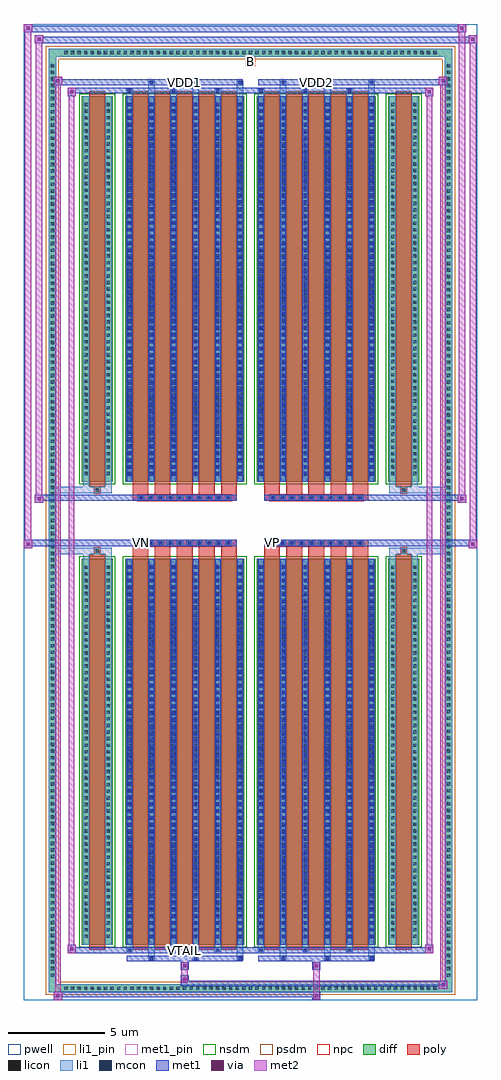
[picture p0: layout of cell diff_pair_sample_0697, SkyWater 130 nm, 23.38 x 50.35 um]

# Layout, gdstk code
import gdstk
lib = gdstk.Library(unit=1e-6, precision=5e-09)
def R(c, l, rs):  # rectangles x0, y0, x1, y1
    for r in rs: c.add(gdstk.rectangle(r[:2], r[2:], *l))
def A(c, l, x, y, w, h, nx, ny, dx, dy):  # array of equal rectangles
    R(c, l, [(x+i*dx, y+j*dy, x+i*dx+w, y+j*dy+h) for i in range(nx) for j in range(ny)])
def P(c, l, *ps):  # polygons
    for p in ps: c.add(gdstk.Polygon(p, *l))
pwell = (64, 44)
diff = (65, 20)
poly = (66, 20)
licon = (66, 44)
li1_pin = (67, 16)
li1 = (67, 20)
mcon = (67, 44)
met1_pin = (68, 16)
met1 = (68, 20)
via = (68, 44)
met2 = (69, 20)
nsdm = (93, 44)
psdm = (94, 20)
npc = (95, 20)

diff_pair_sample_0697 = lib.new_cell('diff_pair_sample_0697')
R(diff_pair_sample_0697, pwell, [(-11.69,-24.74,11.69,25.61), (-9.01,-22.93,-0.01,-0.805), (0.01,-22.93,9.01,-0.805), (-9.01,0.805,-0.01,22.93), (0.01,0.805,9.01,22.93)])
A(diff_pair_sample_0697, diff, -9.725, -24.34, 0.41, 0.41, 57, 2, 0.34, 48.27)
A(diff_pair_sample_0697, diff, -10.42, -23.665, 0.41, 0.41, 1, 139, 0, 0.34)
A(diff_pair_sample_0697, diff, 10.01, -23.665, 0.41, 0.41, 1, 139, 0, 0.34)
R(diff_pair_sample_0697, diff, [(-9.725,-24.34,9.725,-23.93), (-10.42,-23.665,-10.01,23.665), (10.01,-23.665,10.42,23.665), (-8.7,-21.885,-7.11,-1.985), (-6.47,-21.885,-0.32,-1.985), (0.32,-21.885,6.47,-1.985), (7.11,-21.885,8.7,-1.985), (-8.7,1.985,-7.11,21.885), (-6.47,1.985,-0.32,21.885), (0.32,1.985,6.47,21.885), (7.11,1.985,8.7,21.885), (-9.725,23.93,9.725,24.34)])
P(diff_pair_sample_0697, diff, [(10.42,24.34),(-10.42,24.34),(-10.42,-23.93),(-10.01,-23.93),(-10.01,23.93),(10.01,23.93),(10.01,-23.93),(-10.01,-23.93),(-10.42,-23.93),(-10.42,-24.34),(10.42,-24.34)])
A(diff_pair_sample_0697, poly, -6.08, -22.135, 0.81, 20.4, 5, 2, 1.14, 23.87)
A(diff_pair_sample_0697, poly, 0.71, -22.135, 0.81, 20.4, 5, 2, 1.14, 23.87)
A(diff_pair_sample_0697, poly, -6.08, -1.735, 0.81, 0.4, 5, 2, 1.14, 3.07)
A(diff_pair_sample_0697, poly, 0.71, -1.735, 0.81, 0.4, 5, 2, 1.14, 3.07)
A(diff_pair_sample_0697, poly, -5.81, -1.335, 0.33, 0.33, 10, 2, 0.5, 2.34)
A(diff_pair_sample_0697, poly, 0.98, -1.335, 0.33, 0.33, 10, 2, 0.5, 2.34)
R(diff_pair_sample_0697, poly, [(-8.31,-22.135,-7.5,-1.735), (7.5,-22.135,8.31,-1.735), (-8.07,-1.735,-7.74,-1.405), (-8.07,-1.735,-7.74,-1.405), (7.74,-1.735,8.07,-1.405), (7.74,-1.735,8.07,-1.405), (-6.08,-1.335,-0.71,-1.005), (0.71,-1.335,6.08,-1.005), (-6.08,1.005,-0.71,1.335), (0.71,1.005,6.08,1.335), (-8.07,1.405,-7.74,1.735), (-8.07,1.405,-7.74,1.735), (7.74,1.405,8.07,1.735), (7.74,1.405,8.07,1.735), (-8.31,1.735,-7.5,22.135), (7.5,1.735,8.31,22.135)])
A(diff_pair_sample_0697, licon, -9.605, -24.22, 0.17, 0.17, 57, 2, 0.34, 48.27)
A(diff_pair_sample_0697, licon, -10.3, -23.545, 0.17, 0.17, 1, 139, 0, 0.34)
A(diff_pair_sample_0697, licon, 10.13, -23.545, 0.17, 0.17, 1, 139, 0, 0.34)
A(diff_pair_sample_0697, licon, -8.56, -21.54, 0.17, 0.17, 1, 57, 0, 0.34)
A(diff_pair_sample_0697, licon, -7.42, -21.54, 0.17, 0.17, 1, 57, 0, 0.34)
A(diff_pair_sample_0697, licon, -6.33, -21.54, 0.17, 0.17, 6, 57, 1.14, 0.34)
A(diff_pair_sample_0697, licon, 0.46, -21.54, 0.17, 0.17, 6, 57, 1.14, 0.34)
A(diff_pair_sample_0697, licon, 7.25, -21.54, 0.17, 0.17, 1, 57, 0, 0.34)
A(diff_pair_sample_0697, licon, 8.39, -21.54, 0.17, 0.17, 1, 57, 0, 0.34)
A(diff_pair_sample_0697, licon, -5.73, -1.255, 0.17, 0.17, 10, 2, 0.5, 2.34)
A(diff_pair_sample_0697, licon, 1.06, -1.255, 0.17, 0.17, 10, 2, 0.5, 2.34)
A(diff_pair_sample_0697, licon, -8.56, 2.33, 0.17, 0.17, 1, 57, 0, 0.34)
A(diff_pair_sample_0697, licon, -7.42, 2.33, 0.17, 0.17, 1, 57, 0, 0.34)
A(diff_pair_sample_0697, licon, -6.33, 2.33, 0.17, 0.17, 6, 57, 1.14, 0.34)
A(diff_pair_sample_0697, licon, 0.46, 2.33, 0.17, 0.17, 6, 57, 1.14, 0.34)
A(diff_pair_sample_0697, licon, 7.25, 2.33, 0.17, 0.17, 1, 57, 0, 0.34)
A(diff_pair_sample_0697, licon, 8.39, 2.33, 0.17, 0.17, 1, 57, 0, 0.34)
R(diff_pair_sample_0697, licon, [(-7.99,-1.655,-7.82,-1.485), (7.82,-1.655,7.99,-1.485), (-7.99,1.485,-7.82,1.655), (7.82,1.485,7.99,1.655)])
R(diff_pair_sample_0697, li1_pin, [(-0.25,23.43,0.25,23.93)])
A(diff_pair_sample_0697, li1, -9.685, -24.3, 0.33, 0.33, 57, 2, 0.34, 48.27)
A(diff_pair_sample_0697, li1, -10.38, -23.625, 0.33, 0.33, 1, 139, 0, 0.34)
A(diff_pair_sample_0697, li1, 10.05, -23.625, 0.33, 0.33, 1, 139, 0, 0.34)
A(diff_pair_sample_0697, li1, -5.27, -22.69, 0.33, 0.805, 3, 2, 2.28, 44.575)
A(diff_pair_sample_0697, li1, -5.19, -22.69, 0.17, 0.17, 3, 2, 2.28, 45.21)
A(diff_pair_sample_0697, li1, 1.52, -22.69, 0.33, 0.805, 3, 2, 2.28, 44.575)
A(diff_pair_sample_0697, li1, 1.6, -22.69, 0.17, 0.17, 3, 2, 2.28, 45.21)
A(diff_pair_sample_0697, li1, -6.41, -22.26, 0.33, 0.375, 3, 2, 2.28, 44.145)
A(diff_pair_sample_0697, li1, -6.33, -22.26, 0.17, 0.17, 3, 2, 2.28, 44.35)
A(diff_pair_sample_0697, li1, 0.38, -22.26, 0.33, 0.375, 3, 2, 2.28, 44.145)
A(diff_pair_sample_0697, li1, 0.46, -22.26, 0.17, 0.17, 3, 2, 2.28, 44.35)
A(diff_pair_sample_0697, li1, -6.41, -21.885, 0.33, 19.9, 6, 2, 1.14, 23.87)
A(diff_pair_sample_0697, li1, 0.38, -21.885, 0.33, 19.9, 6, 2, 1.14, 23.87)
A(diff_pair_sample_0697, li1, -8.64, -21.62, 0.33, 0.33, 1, 57, 0, 0.34)
A(diff_pair_sample_0697, li1, -7.5, -21.62, 0.33, 0.33, 1, 57, 0, 0.34)
A(diff_pair_sample_0697, li1, -6.41, -21.62, 0.33, 0.33, 6, 57, 1.14, 0.34)
A(diff_pair_sample_0697, li1, 0.38, -21.62, 0.33, 0.33, 6, 57, 1.14, 0.34)
A(diff_pair_sample_0697, li1, 7.17, -21.62, 0.33, 0.33, 1, 57, 0, 0.34)
A(diff_pair_sample_0697, li1, 8.31, -21.62, 0.33, 0.33, 1, 57, 0, 0.34)
A(diff_pair_sample_0697, li1, -6.33, -21.56, 0.17, 0.17, 6, 54, 1.14, 0.36)
A(diff_pair_sample_0697, li1, -6.33, -21.56, 0.17, 19.25, 6, 2, 1.14, 23.87)
A(diff_pair_sample_0697, li1, 0.46, -21.56, 0.17, 0.17, 6, 54, 1.14, 0.36)
A(diff_pair_sample_0697, li1, 0.46, -21.56, 0.17, 19.25, 6, 2, 1.14, 23.87)
A(diff_pair_sample_0697, li1, -5.81, -1.335, 0.33, 0.33, 10, 2, 0.5, 2.34)
A(diff_pair_sample_0697, li1, 0.98, -1.335, 0.33, 0.33, 10, 2, 0.5, 2.34)
A(diff_pair_sample_0697, li1, -8.64, 2.25, 0.33, 0.33, 1, 57, 0, 0.34)
A(diff_pair_sample_0697, li1, -7.5, 2.25, 0.33, 0.33, 1, 57, 0, 0.34)
A(diff_pair_sample_0697, li1, -6.41, 2.25, 0.33, 0.33, 6, 57, 1.14, 0.34)
A(diff_pair_sample_0697, li1, 0.38, 2.25, 0.33, 0.33, 6, 57, 1.14, 0.34)
A(diff_pair_sample_0697, li1, 7.17, 2.25, 0.33, 0.33, 1, 57, 0, 0.34)
A(diff_pair_sample_0697, li1, 8.31, 2.25, 0.33, 0.33, 1, 57, 0, 0.34)
A(diff_pair_sample_0697, li1, -6.33, 2.31, 0.17, 0.17, 6, 54, 1.14, 0.36)
A(diff_pair_sample_0697, li1, 0.46, 2.31, 0.17, 0.17, 6, 54, 1.14, 0.36)
R(diff_pair_sample_0697, li1, [(-10.42,-24.34,-10.01,-23.93), (-10.42,-24.34,-10.01,-23.93), (-10.01,-24.34,10.01,-23.93), (10.01,-24.34,10.42,-23.93), (10.01,-24.34,10.42,-23.93), (-10.42,-23.93,-10.01,23.93), (10.01,-23.93,10.42,23.93), (-8.64,-21.885,-8.31,-1.985), (-7.5,-21.885,-7.17,-1.985), (7.17,-21.885,7.5,-1.985), (8.31,-21.885,8.64,-1.985), (-8.64,-1.985,-8.31,-1.405), (-7.5,-1.985,-7.17,-1.405), (7.17,-1.985,7.5,-1.405), (8.31,-1.985,8.64,-1.405), (-10.42,-1.735,-8.07,-1.405), (-8.64,-1.735,-8.07,-1.405), (-8.07,-1.735,-7.74,-1.405), (-7.74,-1.735,-7.17,-1.405), (7.17,-1.735,7.74,-1.405), (7.74,-1.735,8.07,-1.405), (7.74,-1.735,10.42,-1.405), (8.07,-1.735,8.64,-1.405), (-10.42,1.405,-8.07,1.735), (-8.64,1.405,-8.07,1.735), (-8.64,1.405,-8.31,1.985), (-8.07,1.405,-7.74,1.735), (-7.74,1.405,-7.17,1.735), (-7.5,1.405,-7.17,1.985), (7.17,1.405,7.74,1.735), (7.17,1.405,7.5,1.985), (7.74,1.405,8.07,1.735), (7.74,1.405,10.42,1.735), (8.07,1.405,8.64,1.735), (8.31,1.405,8.64,1.985), (-8.64,1.985,-8.31,21.885), (-7.5,1.985,-7.17,21.885), (7.17,1.985,7.5,21.885), (8.31,1.985,8.64,21.885), (-10.42,23.93,-10.01,24.34), (-10.42,23.93,-10.01,24.34), (-10.01,23.93,10.01,24.34), (10.01,23.93,10.42,24.34), (10.01,23.93,10.42,24.34)])
A(diff_pair_sample_0697, mcon, -5.19, -22.69, 0.17, 0.17, 3, 2, 2.28, 45.21)
A(diff_pair_sample_0697, mcon, 1.6, -22.69, 0.17, 0.17, 3, 2, 2.28, 45.21)
A(diff_pair_sample_0697, mcon, -6.33, -22.26, 0.17, 0.17, 3, 2, 2.28, 44.35)
A(diff_pair_sample_0697, mcon, 0.46, -22.26, 0.17, 0.17, 3, 2, 2.28, 44.35)
A(diff_pair_sample_0697, mcon, -6.33, -21.56, 0.17, 0.17, 6, 54, 1.14, 0.36)
A(diff_pair_sample_0697, mcon, 0.46, -21.56, 0.17, 0.17, 6, 54, 1.14, 0.36)
A(diff_pair_sample_0697, mcon, -5.73, -1.255, 0.17, 0.17, 10, 2, 0.5, 2.34)
A(diff_pair_sample_0697, mcon, 1.06, -1.255, 0.17, 0.17, 10, 2, 0.5, 2.34)
A(diff_pair_sample_0697, mcon, -6.33, 2.31, 0.17, 0.17, 6, 54, 1.14, 0.36)
A(diff_pair_sample_0697, mcon, 0.46, 2.31, 0.17, 0.17, 6, 54, 1.14, 0.36)
R(diff_pair_sample_0697, met1_pin, [(-3.53,-22.3,-3.26,-22.03), (-5.78,-1.295,-5.51,-1.025), (1.01,-1.295,1.28,-1.025), (-3.53,22.48,-3.26,22.75), (3.26,22.48,3.53,22.75)])
A(diff_pair_sample_0697, met1, -5.25, -22.75, 0.29, 0.29, 3, 2, 2.28, 45.21)
A(diff_pair_sample_0697, met1, 1.54, -22.75, 0.29, 0.29, 3, 2, 2.28, 45.21)
A(diff_pair_sample_0697, met1, -6.39, -22.32, 0.29, 0.29, 3, 2, 2.28, 44.35)
A(diff_pair_sample_0697, met1, 0.4, -22.32, 0.29, 0.29, 3, 2, 2.28, 44.35)
A(diff_pair_sample_0697, met1, -6.39, -21.885, 0.29, 19.9, 6, 2, 1.14, 23.87)
A(diff_pair_sample_0697, met1, 0.4, -21.885, 0.29, 19.9, 6, 2, 1.14, 23.87)
A(diff_pair_sample_0697, met1, -6.39, -21.62, 0.29, 0.29, 6, 54, 1.14, 0.36)
A(diff_pair_sample_0697, met1, 0.4, -21.62, 0.29, 0.29, 6, 54, 1.14, 0.36)
A(diff_pair_sample_0697, met1, -5.79, -1.315, 0.29, 0.29, 10, 2, 0.5, 2.34)
A(diff_pair_sample_0697, met1, 1, -1.315, 0.29, 0.29, 10, 2, 0.5, 2.34)
A(diff_pair_sample_0697, met1, -6.39, 2.25, 0.29, 0.29, 6, 54, 1.14, 0.36)
A(diff_pair_sample_0697, met1, 0.4, 2.25, 0.29, 0.29, 6, 54, 1.14, 0.36)
R(diff_pair_sample_0697, met1, [(-10.15,-24.74,-9.72,-24.31), (3.18,-24.74,3.61,-24.31), (-10.15,-24.6,3.61,-24.31), (9.72,-24.17,10.15,-23.74), (-3.61,-24.03,10.15,-23.74), (-3.61,-23.89,-3.18,-23.46), (-3.61,-23.18,-3.18,-22.75), (3.18,-23.18,3.61,-22.75), (-6.39,-22.75,-0.4,-22.46), (0.4,-22.75,6.39,-22.46), (-9.44,-22.32,-9.01,-21.89), (-9.44,-22.32,-6.39,-22.03), (-6.39,-22.32,-0.4,-22.03), (-0.4,-22.32,0.4,-22.03), (0.4,-22.32,6.39,-22.03), (6.39,-22.32,9.44,-22.03), (9.01,-22.32,9.44,-21.89), (-11.69,-1.435,-11.26,-1.005), (11.26,-1.435,11.69,-1.005), (-11.69,-1.335,-0.71,-1.005), (-6.08,-1.335,-0.71,-1.005), (0.71,-1.335,6.08,-1.005), (0.71,-1.335,11.69,-1.005), (-11.12,0.905,-10.69,1.335), (10.69,0.905,11.12,1.335), (-11.12,1.005,-6.08,1.335), (-6.08,1.005,-0.71,1.335), (0.71,1.005,6.08,1.335), (6.08,1.005,11.12,1.335), (-9.44,21.89,-9.01,22.32), (9.01,21.89,9.44,22.32), (-9.44,22.03,-6.39,22.32), (-6.39,22.03,-0.4,22.32), (-0.4,22.03,0.4,22.32), (0.4,22.03,6.39,22.32), (6.39,22.03,9.44,22.32), (-10.15,22.46,-9.72,22.89), (-10.15,22.46,-6.39,22.75), (-6.39,22.46,-0.4,22.75), (0.4,22.46,6.39,22.75), (6.39,22.46,10.15,22.75), (9.72,22.46,10.15,22.89), (-11.12,24.61,-10.69,25.04), (-11.12,24.61,-9.01,24.94), (-9.01,24.61,9.01,24.94), (9.01,24.61,11.69,24.94), (11.26,24.61,11.69,25.04), (-11.69,25.18,-11.26,25.61), (-11.69,25.18,-9.01,25.51), (-9.01,25.18,9.01,25.51), (9.01,25.18,11.12,25.51), (10.69,25.18,11.12,25.61)])
R(diff_pair_sample_0697, via, [(-10.01,-24.6,-9.86,-24.45), (3.32,-24.6,3.47,-24.45), (9.86,-24.03,10.01,-23.88), (-3.47,-23.75,-3.32,-23.6), (-3.47,-23.04,-3.32,-22.89), (3.32,-23.04,3.47,-22.89), (-9.3,-22.18,-9.15,-22.03), (9.15,-22.18,9.3,-22.03), (-11.55,-1.295,-11.4,-1.145), (11.4,-1.295,11.55,-1.145), (-10.98,1.045,-10.83,1.195), (10.83,1.045,10.98,1.195), (-9.3,22.03,-9.15,22.18), (9.15,22.03,9.3,22.18), (-10.01,22.6,-9.86,22.75), (9.86,22.6,10.01,22.75), (-10.98,24.75,-10.83,24.9), (11.4,24.75,11.55,24.9), (-11.55,25.32,-11.4,25.47), (10.83,25.32,10.98,25.47)])
R(diff_pair_sample_0697, met2, [(-10.15,-24.74,-9.72,-24.31), (-10.08,-24.74,-9.79,22.89), (-9.79,-24.74,-9.72,-24.31), (-10.1,-24.69,-9.77,-24.36), (3.23,-24.69,3.56,-24.36), (3.23,-24.36,3.56,-23.13), (9.72,-24.17,10.15,-23.74), (9.79,-24.17,10.08,22.89), (10.08,-24.17,10.15,-23.74), (9.77,-24.12,10.1,-23.79), (-3.56,-23.84,-3.23,-23.51), (-3.56,-23.51,-3.23,-23.13), (-3.56,-23.13,-3.23,-22.8), (3.23,-23.13,3.56,-22.8), (-9.44,-22.32,-9.01,-21.89), (-9.37,-22.32,-9.08,22.32), (-9.08,-22.32,-9.01,-21.89), (9.01,-22.32,9.44,-21.89), (9.08,-22.32,9.37,22.32), (9.37,-22.32,9.44,-21.89), (-9.39,-22.27,-9.06,-21.94), (9.06,-22.27,9.39,-21.94), (-11.69,-1.435,-11.26,-1.005), (-11.64,-1.435,-11.31,25.61), (-11.31,-1.435,-11.26,-1.005), (11.26,-1.435,11.69,-1.005), (11.31,-1.435,11.64,25.04), (11.64,-1.435,11.69,-1.005), (-11.64,-1.385,-11.31,-1.055), (11.31,-1.385,11.64,-1.055), (-11.12,0.905,-10.69,1.335), (-11.07,0.905,-10.74,25.04), (-10.74,0.905,-10.69,1.335), (10.69,0.905,11.12,1.335), (10.74,0.905,11.07,25.61), (11.07,0.905,11.12,1.335), (-11.07,0.955,-10.74,1.285), (10.74,0.955,11.07,1.285), (-9.44,21.89,-9.01,22.32), (-9.08,21.89,-9.01,22.32), (9.01,21.89,9.44,22.32), (9.37,21.89,9.44,22.32), (-9.39,21.94,-9.06,22.27), (9.06,21.94,9.39,22.27), (-10.15,22.46,-9.72,22.89), (-9.79,22.46,-9.72,22.89), (9.72,22.46,10.15,22.89), (10.08,22.46,10.15,22.89), (-10.1,22.51,-9.77,22.84), (9.77,22.51,10.1,22.84), (-11.12,24.61,-10.69,25.04), (-10.74,24.61,-10.69,25.04), (11.26,24.61,11.69,25.04), (11.64,24.61,11.69,25.04), (-11.07,24.66,-10.74,24.99), (11.31,24.66,11.64,24.99), (-11.69,25.18,-11.26,25.61), (-11.31,25.18,-11.26,25.61), (10.69,25.18,11.12,25.61), (11.07,25.18,11.12,25.61), (-11.64,25.23,-11.31,25.56), (10.74,25.23,11.07,25.56)])
R(diff_pair_sample_0697, nsdm, [(-8.83,-22.015,-6.98,-1.855), (-6.6,-22.015,-0.19,-1.855), (0.19,-22.015,6.6,-1.855), (6.98,-22.015,8.83,-1.855), (-8.83,1.855,-6.98,22.015), (-6.6,1.855,-0.19,22.015), (0.19,1.855,6.6,22.015), (6.98,1.855,8.83,22.015)])
P(diff_pair_sample_0697, psdm, [(10.55,24.47),(-10.55,24.47),(-10.55,-23.8),(-9.88,-23.8),(-9.88,23.8),(9.88,23.8),(9.88,-23.8),(-9.88,-23.8),(-10.55,-23.8),(-10.55,-24.47),(10.55,-24.47)])
A(diff_pair_sample_0697, npc, -5.83, -1.355, 0.37, 0.37, 10, 2, 0.5, 2.34)
A(diff_pair_sample_0697, npc, 0.96, -1.355, 0.37, 0.37, 10, 2, 0.5, 2.34)
R(diff_pair_sample_0697, npc, [(-8.09,-1.755,-7.72,-1.385), (7.72,-1.755,8.09,-1.385), (-5.83,-1.355,-4.96,-0.985), (-5.83,-1.355,-4.96,-0.985), (-5.33,-1.355,-4.46,-0.985), (-5.33,-1.355,-4.46,-0.985), (-4.83,-1.355,-3.96,-0.985), (-4.83,-1.355,-3.96,-0.985), (-4.33,-1.355,-3.46,-0.985), (-4.33,-1.355,-3.46,-0.985), (-3.83,-1.355,-2.96,-0.985), (-3.83,-1.355,-2.96,-0.985), (-3.33,-1.355,-2.46,-0.985), (-3.33,-1.355,-2.46,-0.985), (-2.83,-1.355,-1.96,-0.985), (-2.83,-1.355,-1.96,-0.985), (-2.33,-1.355,-1.46,-0.985), (-2.33,-1.355,-1.46,-0.985), (-1.83,-1.355,-0.96,-0.985), (-1.83,-1.355,-0.96,-0.985), (0.96,-1.355,1.83,-0.985), (0.96,-1.355,1.83,-0.985), (1.46,-1.355,2.33,-0.985), (1.46,-1.355,2.33,-0.985), (1.96,-1.355,2.83,-0.985), (1.96,-1.355,2.83,-0.985), (2.46,-1.355,3.33,-0.985), (2.46,-1.355,3.33,-0.985), (2.96,-1.355,3.83,-0.985), (2.96,-1.355,3.83,-0.985), (3.46,-1.355,4.33,-0.985), (3.46,-1.355,4.33,-0.985), (3.96,-1.355,4.83,-0.985), (3.96,-1.355,4.83,-0.985), (4.46,-1.355,5.33,-0.985), (4.46,-1.355,5.33,-0.985), (4.96,-1.355,5.83,-0.985), (4.96,-1.355,5.83,-0.985), (-5.83,0.985,-4.96,1.355), (-5.83,0.985,-4.96,1.355), (-5.33,0.985,-4.46,1.355), (-5.33,0.985,-4.46,1.355), (-4.83,0.985,-3.96,1.355), (-4.83,0.985,-3.96,1.355), (-4.33,0.985,-3.46,1.355), (-4.33,0.985,-3.46,1.355), (-3.83,0.985,-2.96,1.355), (-3.83,0.985,-2.96,1.355), (-3.33,0.985,-2.46,1.355), (-3.33,0.985,-2.46,1.355), (-2.83,0.985,-1.96,1.355), (-2.83,0.985,-1.96,1.355), (-2.33,0.985,-1.46,1.355), (-2.33,0.985,-1.46,1.355), (-1.83,0.985,-0.96,1.355), (-1.83,0.985,-0.96,1.355), (0.96,0.985,1.83,1.355), (0.96,0.985,1.83,1.355), (1.46,0.985,2.33,1.355), (1.46,0.985,2.33,1.355), (1.96,0.985,2.83,1.355), (1.96,0.985,2.83,1.355), (2.46,0.985,3.33,1.355), (2.46,0.985,3.33,1.355), (2.96,0.985,3.83,1.355), (2.96,0.985,3.83,1.355), (3.46,0.985,4.33,1.355), (3.46,0.985,4.33,1.355), (3.96,0.985,4.83,1.355), (3.96,0.985,4.83,1.355), (4.46,0.985,5.33,1.355), (4.46,0.985,5.33,1.355), (4.96,0.985,5.83,1.355), (4.96,0.985,5.83,1.355), (-8.09,1.385,-7.72,1.755), (7.72,1.385,8.09,1.755)])
diff_pair_sample_0697.add(gdstk.Label('VTAIL', (-3.395,-22.165), layer=68, texttype=5))
diff_pair_sample_0697.add(gdstk.Label('VN', (-5.645,-1.16), layer=68, texttype=5))
diff_pair_sample_0697.add(gdstk.Label('VP', (1.145,-1.16), layer=68, texttype=5))
diff_pair_sample_0697.add(gdstk.Label('B', (0,23.68), layer=67, texttype=5))
diff_pair_sample_0697.add(gdstk.Label('VDD2', (3.395,22.615), layer=68, texttype=5))
diff_pair_sample_0697.add(gdstk.Label('VDD1', (-3.395,22.615), layer=68, texttype=5))

lib.write_gds('diff_pair_sample_0697.gds')
